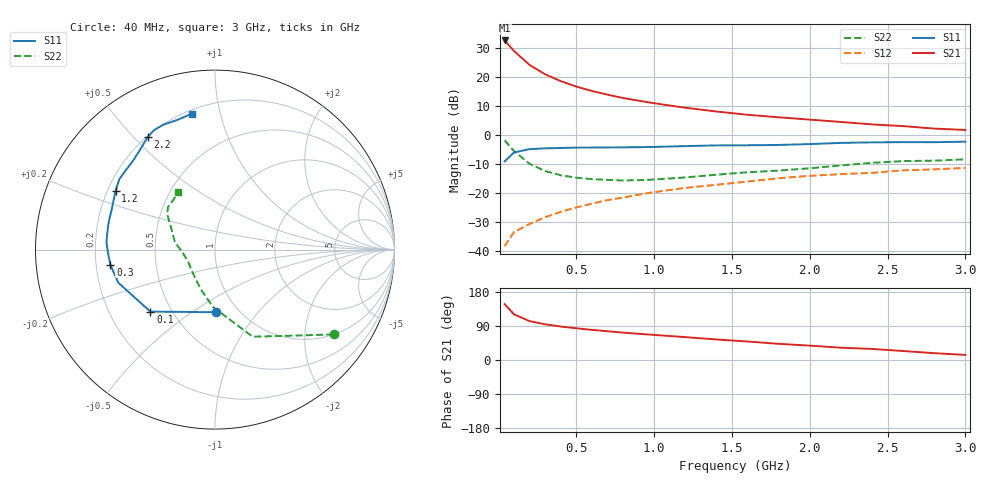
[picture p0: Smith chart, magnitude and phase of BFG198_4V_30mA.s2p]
! Filename:  BFG198C.S2P  Version:  2.0
! Philips part #: BFG198  Date: Jul 1990
! Bias condition: Vce=4V, Ic=30mA
#  MHz  S  MA  R  50
! Freq  S11  S21  S12  S22  !GUM [dB]
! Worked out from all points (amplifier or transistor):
!   21 points, 40 MHz to 3 GHz, reference 50 ohm
!   highest |S21| = 32.7 dB at 40 MHz (marker M1)
!   |S21| within 3 dB of that: start of sweep to 89.84 MHz
!   unconditionally stable (mu >= 1): 467.9 MHz to 2.153 GHz; 2.741 GHz to 2.85 GHz
!   at 300 MHz: K = 0.90, MSG = 24.7 dB, |S12| = -28.4 dB
!   at 1 GHz: K = 1.08, MAG = 13.6 dB, |S12| = -19.7 dB
!   at 3 GHz: K = 0.98, MSG = 6.6 dB, |S12| = -11.4 dB
!   S11 on the Smith chart (normalised r, x): 40 MHz: 0.79, -0.63; 100 MHz: 0.38, -0.35; 300 MHz: 0.26, -0.07; 1.2 GHz: 0.23, +0.26; 2.2 GHz: 0.20, +0.55; 3 GHz: 0.22, +0.82
40  0.349 -89.1  43.08 147.6  0.012 64.7  0.812 -35.6
100  0.499 -136.2  28.43 120.7  0.021 55.8  0.529 -66.6
200  0.57 -161.2  16.27 102.7  0.029 56.7  0.319 -92.2
300  0.589 -171.8  11.21 94.2  0.038 60.6  0.239 -108.2
400  0.597 -178.4  8.547 88.4  0.047 63.9  0.202 -120.8
500  0.606 176.2  6.886 83.7  0.056 65.3  0.183 -130.9
600  0.607 171.8  5.782 79.5  0.065 66.3  0.173 -139.2
700  0.61 167.4  4.988 75.9  0.075 67.2  0.168 -146.3
800  0.613 163.5  4.37 72.3  0.083 67.6  0.164 -152.8
900  0.616 159.5  3.926 69.2  0.093 67.5  0.166 -159.6
1000  0.623 156.1  3.545 66.2  0.103 67.3  0.17 -165.9
1200  0.643 149.5  2.964 60.4  0.122 66.0  0.185 -177.2
1400  0.662 143.6  2.551 54.2  0.138 64.6  0.206 175.2
1600  0.665 138.6  2.239 48.8  0.157 64.0  0.227 169.5
1800  0.674 132.5  2.025 42.7  0.179 60.3  0.243 162.6
2000  0.697 126.6  1.846 37.9  0.197 58.5  0.266 155.2
2200  0.731 120.8  1.682 32.5  0.211 56.0  0.298 148.7
2400  0.747 117.1  1.526 29.2  0.222 55.4  0.331 143.4
2600  0.753 112.6  1.426 23.7  0.245 51.6  0.354 137.8
2800  0.752 106.5  1.291 18.0  0.255 46.6  0.361 130.2
3000  0.768 99.8  1.224 13.5  0.27 45.2  0.38 122.5
